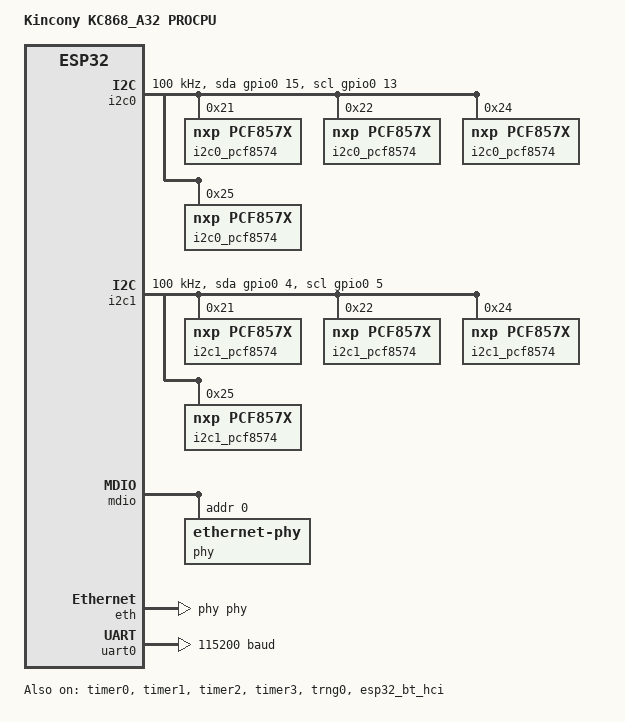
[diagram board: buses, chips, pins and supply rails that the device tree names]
/*
 * Copyright (c) 2023 Bartosz Bilas
 *
 * SPDX-License-Identifier: Apache-2.0
 */
/dts-v1/;

#include <espressif/esp32/esp32_wroom_32ue_n4.dtsi>
#include "kincony_kc868_a32-pinctrl.dtsi"
#include <espressif/partitions_0x1000_amp.dtsi>

/ {
	model = "Kincony KC868_A32 PROCPU";
	compatible = "espressif,esp32";

	aliases {
		uart-0 = &uart0;
		watchdog0 = &wdt0;
	};

	chosen {
		zephyr,sram = &sram1;
		zephyr,console = &uart0;
		zephyr,shell-uart = &uart0;
		zephyr,flash = &flash0;
		zephyr,code-partition = &slot0_partition;
		zephyr,bt-hci = &esp32_bt_hci;
	};
};

&gpio0 {
	status = "okay";
};

&gpio1 {
	status = "okay";
};

&i2c0 {
	status = "okay";
	clock-frequency = <I2C_BITRATE_STANDARD>;
	sda-gpios = <&gpio0 15 GPIO_OPEN_DRAIN>;
	scl-gpios = <&gpio0 13 GPIO_OPEN_DRAIN>;
	pinctrl-0 = <&i2c0_default>;
	pinctrl-names = "default";

	i2c0_pcf8574@21 {
		compatible = "nxp,pcf857x";
		reg = <0x21>;
		gpio-controller;
		#gpio-cells = <2>;
		ngpios = <8>;
	};

	i2c0_pcf8574@22 {
		compatible = "nxp,pcf857x";
		reg = <0x22>;
		gpio-controller;
		#gpio-cells = <2>;
		ngpios = <8>;
	};

	i2c0_pcf8574@24 {
		compatible = "nxp,pcf857x";
		reg = <0x24>;
		gpio-controller;
		#gpio-cells = <2>;
		ngpios = <8>;
	};

	i2c0_pcf8574@25 {
		compatible = "nxp,pcf857x";
		reg = <0x25>;
		gpio-controller;
		#gpio-cells = <2>;
		ngpios = <8>;
	};
};

&i2c1 {
	status = "okay";
	clock-frequency = <I2C_BITRATE_STANDARD>;
	sda-gpios = <&gpio0 4 GPIO_OPEN_DRAIN>;
	scl-gpios = <&gpio0 5 GPIO_OPEN_DRAIN>;
	pinctrl-0 = <&i2c1_default>;
	pinctrl-names = "default";

	i2c1_pcf8574@21 {
		compatible = "nxp,pcf857x";
		reg = <0x21>;
		gpio-controller;
		#gpio-cells = <2>;
		ngpios = <8>;
	};

	i2c1_pcf8574@22 {
		compatible = "nxp,pcf857x";
		reg = <0x22>;
		gpio-controller;
		#gpio-cells = <2>;
		ngpios = <8>;
	};

	i2c1_pcf8574@24 {
		compatible = "nxp,pcf857x";
		reg = <0x24>;
		gpio-controller;
		#gpio-cells = <2>;
		ngpios = <8>;
	};

	i2c1_pcf8574@25 {
		compatible = "nxp,pcf857x";
		reg = <0x25>;
		gpio-controller;
		#gpio-cells = <2>;
		ngpios = <8>;
	};
};

&mdio {
	pinctrl-0 = <&mdio_default>;
	pinctrl-names = "default";
	status = "okay";

	phy: ethernet-phy@0 {
		compatible = "ethernet-phy";
		status = "okay";
		reg = <0>;
	};
};

&eth {
	status = "okay";
	phy-handle = <&phy>;
	ref-clk-output-gpios = <&gpio0 17 0>;
};

&psram0 {
	status = "disabled";
};

&timer0 {
	status = "okay";
};

&timer1 {
	status = "okay";
};

&timer2 {
	status = "okay";
};

&timer3 {
	status = "okay";
};

&trng0 {
	status = "okay";
};

&uart0 {
	status = "okay";
	current-speed = <115200>;
	pinctrl-0 = <&uart0_default>;
	pinctrl-names = "default";
};

&esp32_bt_hci {
	status = "okay";
};
